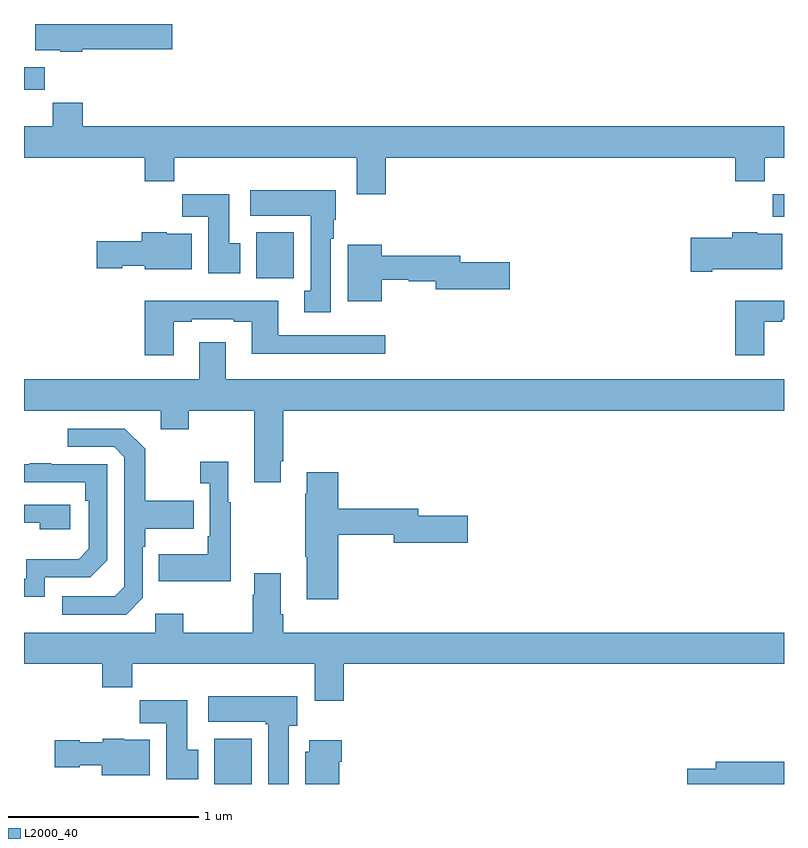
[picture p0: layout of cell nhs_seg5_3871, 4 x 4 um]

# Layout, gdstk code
import gdstk
lib = gdstk.Library(unit=1e-6, precision=1e-09)
def R(c, l, rs):  # rectangles x0, y0, x1, y1
    for r in rs: c.add(gdstk.rectangle(r[:2], r[2:], *l))
def P(c, l, *ps):  # polygons
    for p in ps: c.add(gdstk.Polygon(p, *l))
L2000_40 = (2000, 40)

nhs_seg5_3871 = lib.new_cell('nhs_seg5_3871')
R(nhs_seg5_3871, L2000_40, [(340.001,850.799,340.198,851.038), (340.223,853.46,340.42,853.702), (342.94,853.784,343,853.903), (339,854.454,339.11,854.572)])
P(nhs_seg5_3871, L2000_40, [(339.306,854.665),(339.781,854.665),(339.781,854.799),(339.059,854.799),(339.059,854.66),(339.192,854.66),(339.192,854.654),(339.306,854.654)],
  [(340.904,854.096),(342.743,854.096),(342.743,853.972),(342.899,853.972),(342.899,854.096),(343,854.096),(343,854.26),(339.308,854.26),(339.308,854.384),(339.151,854.384),(339.151,854.26),(339,854.26),(339,854.096),(339.635,854.096),(339.635,853.972),(339.791,853.972),(339.791,854.096),(340.751,854.096),(340.751,853.902),(340.904,853.902)],
  [(340.615,853.67),(340.63,853.67),(340.63,853.77),(340.642,853.77),(340.642,853.924),(340.191,853.924),(340.191,853.79),(340.508,853.79),(340.508,853.394),(340.475,853.394),(340.475,853.281),(340.615,853.281)],
  [(340.138,853.644),(340.081,853.644),(340.081,853.903),(339.832,853.903),(339.832,853.784),(339.971,853.784),(339.971,853.488),(340.138,853.488)],
  [(339.883,853.696),(339.75,853.696),(339.75,853.702),(339.62,853.702),(339.62,853.656),(339.384,853.656),(339.384,853.514),(339.516,853.514),(339.516,853.526),(339.636,853.526),(339.636,853.508),(339.883,853.508)],
  [(342.622,853.508),(342.991,853.508),(342.991,853.696),(342.858,853.696),(342.858,853.702),(342.728,853.702),(342.728,853.674),(342.51,853.674),(342.51,853.496),(342.622,853.496)],
  [(340.882,853.452),(341.025,853.452),(341.025,853.444),(341.168,853.444),(341.168,853.402),(341.557,853.402),(341.557,853.544),(341.296,853.544),(341.296,853.58),(340.882,853.58),(340.882,853.636),(340.703,853.636),(340.703,853.34),(340.882,853.34)],
  [(339.787,853.233),(339.883,853.233),(339.883,853.245),(340.103,853.245),(340.103,853.233),(340.199,853.233),(340.199,853.064),(340.9,853.064),(340.9,853.161),(340.339,853.161),(340.339,853.342),(339.635,853.342),(339.635,853.056),(339.787,853.056)],
  [(342.895,853.233),(342.991,853.233),(342.991,853.245),(343,853.245),(343,853.342),(342.743,853.342),(342.743,853.056),(342.895,853.056)],
  [(340.211,852.387),(340.351,852.387),(340.351,852.499),(340.364,852.499),(340.364,852.764),(343,852.764),(343,852.928),(340.063,852.928),(340.063,853.123),(339.923,853.123),(339.923,852.928),(339,852.928),(339,852.764),(339.719,852.764),(339.719,852.665),(339.867,852.665),(339.867,852.764),(340.211,852.764)],
  [(339.624,851.778),(339.624,852.047),(339.637,852.047),(339.637,852.143),(339.893,852.143),(339.893,852.291),(339.637,852.291),(339.637,852.563),(339.531,852.669),(339.231,852.669),(339.231,852.573),(339.474,852.573),(339.528,852.519),(339.528,851.838),(339.477,851.787),(339.201,851.787),(339.201,851.691),(339.537,851.691)],
  [(340.087,852.283),(340.075,852.283),(340.075,852.496),(339.927,852.496),(339.927,852.383),(339.978,852.383),(339.978,852.103),(339.966,852.103),(339.966,852.007),(339.709,852.007),(339.709,851.867),(340.087,851.867)],
  [(339.108,851.886),(339.348,851.886),(339.438,851.976),(339.438,852.483),(339.143,852.483),(339.143,852.488),(339.031,852.488),(339.031,852.483),(339,852.483),(339,852.387),(339.322,852.387),(339.322,852.29),(339.342,852.29),(339.342,852.036),(339.289,851.983),(339.012,851.983),(339.012,851.88),(339,851.88),(339,851.784),(339.108,851.784)],
  [(340.655,852.112),(340.946,852.112),(340.946,852.07),(341.335,852.07),(341.335,852.212),(341.074,852.212),(341.074,852.248),(340.655,852.248),(340.655,852.439),(340.487,852.439),(340.487,852.326),(340.48,852.326),(340.48,851.995),(340.487,851.995),(340.487,851.772),(340.655,851.772)],
  [(339.244,852.27),(339,852.27),(339,852.174),(339.083,852.174),(339.083,852.14),(339.244,852.14)],
  [(340.682,851.432),(343,851.432),(343,851.596),(340.364,851.596),(340.364,851.692),(340.351,851.692),(340.351,851.908),(340.211,851.908),(340.211,851.795),(340.204,851.795),(340.204,851.596),(339.837,851.596),(339.837,851.695),(339.69,851.695),(339.69,851.596),(339,851.596),(339,851.432),(339.413,851.432),(339.413,851.308),(339.569,851.308),(339.569,851.432),(340.529,851.432),(340.529,851.238),(340.682,851.238)],
  [(340.393,851.106),(340.438,851.106),(340.438,851.26),(339.969,851.26),(339.969,851.126),(340.273,851.126),(340.273,851.113),(340.286,851.113),(340.286,850.799),(340.393,850.799)],
  [(339.916,850.98),(339.859,850.98),(339.859,851.239),(339.61,851.239),(339.61,851.12),(339.749,851.12),(339.749,850.824),(339.916,850.824)],
  [(339.661,851.032),(339.528,851.032),(339.528,851.038),(339.414,851.038),(339.414,851.02),(339.294,851.02),(339.294,851.028),(339.162,851.028),(339.162,850.886),(339.294,850.886),(339.294,850.898),(339.41,850.898),(339.41,850.844),(339.661,850.844)],
  [(340.66,850.916),(340.673,850.916),(340.673,851.029),(340.502,851.029),(340.502,850.968),(340.481,850.968),(340.481,850.799),(340.66,850.799)],
  [(343,850.916),(342.641,850.916),(342.641,850.88),(342.492,850.88),(342.492,850.799),(343,850.799)])

lib.write_gds('nhs_seg5_3871.gds')
